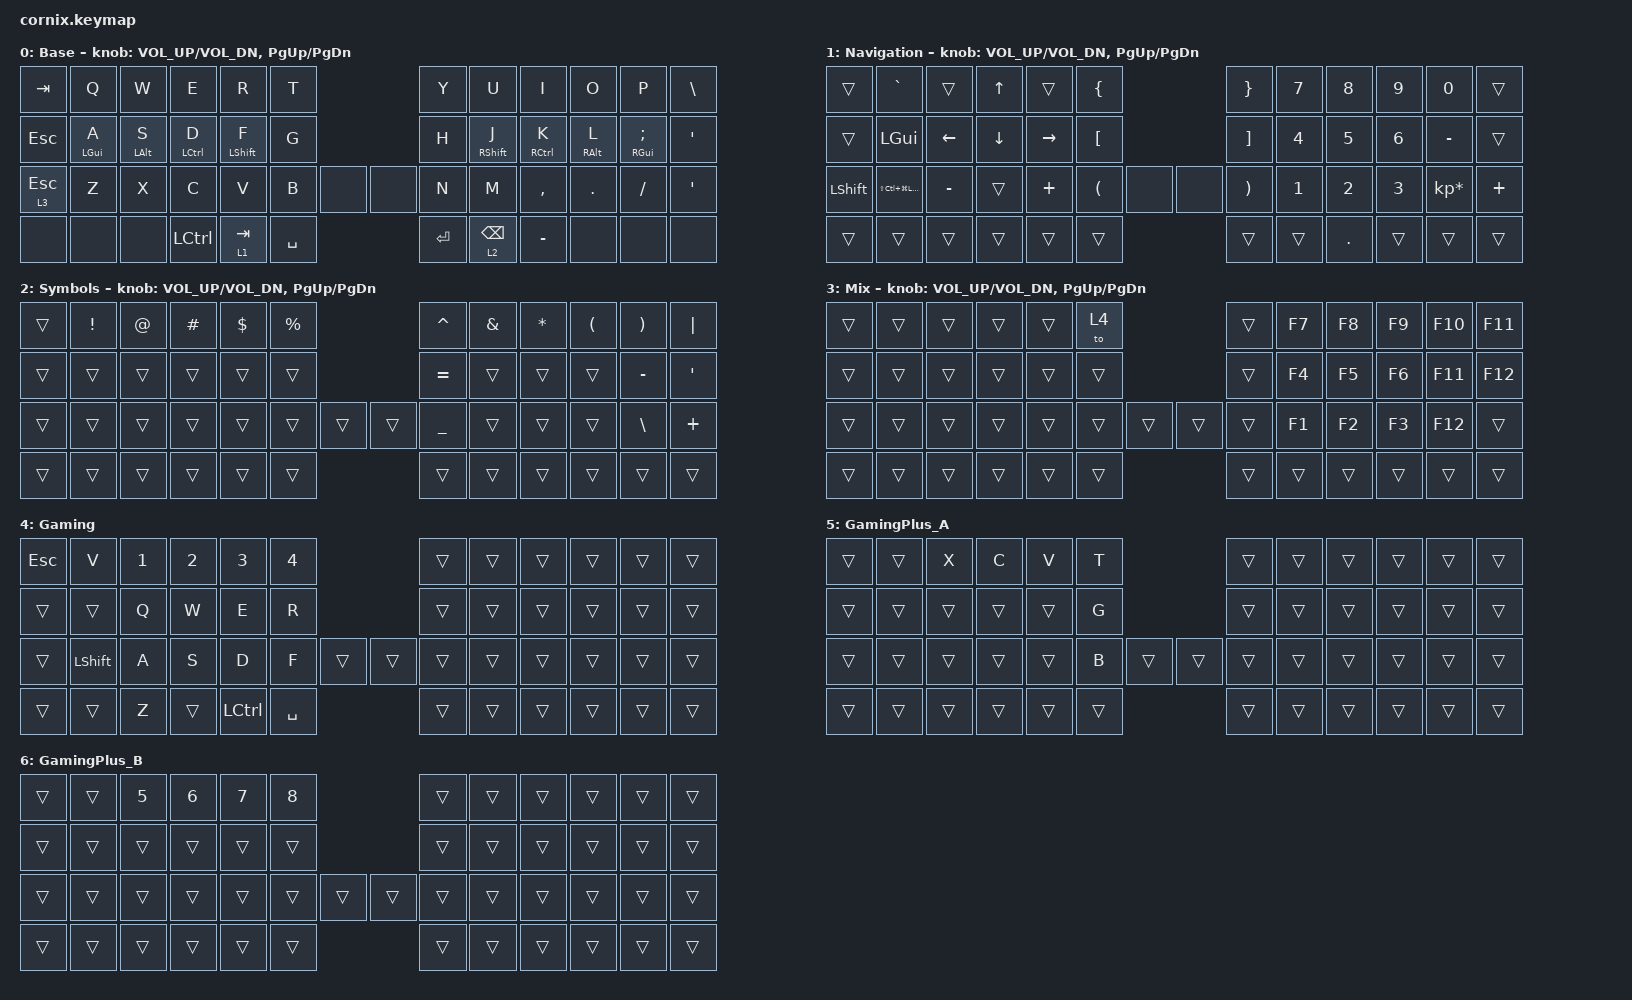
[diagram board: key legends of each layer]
/*
 * Copyright (c) 2020 The ZMK Contributors
 *
 * SPDX-License-Identifier: MIT
 */

#include "zmk-helpers/helper.h"
#include "includes/cornix54.h"

// tap windows for ctl alt and gui

#define HM_TAPPING_TERM 250
#define HM_TAPPING_REPEAT 210

// quick tapping for shift

#define HM_TAPPING_TERM_FAST 200
#define HM_PRIOR_IDLE 70
#define BASE 0
#define WIN 1
#define LOWER 2
#define RAISE 3
#define ADJUST 4
#define NAVI   5
#define NUM    6
#define DEBUG  7

// https://github.com/urob/zmk-config/tree/main#timeless-homerow-mods

#define KEYS_L LT0 LT1 LT2 LT3 LT4 LT5 LM0 LM1 LM2 LM3 LM4 LM5 LB0 LB1 LB2 LB3 LB4 LB5  // left hand
#define KEYS_R RT0 RT1 RT2 RT3 RT4 RT5 RM0 RM1 RM2 RM3 RM4 RM5 RB0 RB1 RB2 RB3 RB4 RB5  // right hand
#define THUMBS LH1 LH0 RH0 RH1
#define KEYS_T LH1 LH0 RH0 RH1
#define ZMK_POINTING_DEFAULT_SCRL_VAL 15

#include <behaviors.dtsi>
#include <dt-bindings/zmk/keys.h>

/ {
    // Activate ADJUST layer by pressing raise and lower

    behaviors {
        hm_l: homerow_mods_left {
            compatible = "zmk,behavior-hold-tap";
            #binding-cells = <2>;
            bindings = <&kp>, <&kp>;

            flavor = "balanced";
            tapping-term-ms = <HM_TAPPING_TERM>;
            quick-tap-ms = <200>;                // repeat on tap-into-hold
            require-prior-idle-ms = <HM_PRIOR_IDLE>;
            hold-trigger-key-positions = <KEYS_R KEYS_T>;
            hold-trigger-on-release;
        };

        hm_r: homerow_mods_right {
            compatible = "zmk,behavior-hold-tap";
            #binding-cells = <2>;
            bindings = <&kp>, <&kp>;

            flavor = "balanced";
            tapping-term-ms = <HM_TAPPING_TERM>;
            quick-tap-ms = <200>;
            require-prior-idle-ms = <HM_PRIOR_IDLE>;
            hold-trigger-key-positions = <KEYS_L KEYS_T>;
            hold-trigger-on-release;
        };

        // Positional Homerow mods for shift
        // Use faster tapping term and disable some features that may
        // cause false negatives.

        hm_shift_l: hm_shift_l {
            compatible = "zmk,behavior-hold-tap";
            #binding-cells = <2>;
            bindings = <&kp>, <&kp>;

            //flavor = "balanced";

            flavor = "balanced";
            tapping-term-ms = <HM_TAPPING_TERM_FAST>;
            quick-tap-ms = <200>;
            require-prior-idle-ms = <HM_PRIOR_IDLE>;
            hold-trigger-key-positions = <KEYS_R KEYS_T>;
            hold-trigger-on-release;
        };

        hm_shift_r: hm_shift_r {
            compatible = "zmk,behavior-hold-tap";
            #binding-cells = <2>;
            bindings = <&kp>, <&kp>;

            flavor = "balanced";
            tapping-term-ms = <HM_TAPPING_TERM_FAST>;
            quick-tap-ms = <200>;
            require-prior-idle-ms = <HM_PRIOR_IDLE>;
            hold-trigger-key-positions = <KEYS_L KEYS_T>;

            // for quick tapping; shift+~

            hold-trigger-on-release;
        };

        /*
         * Non-Positional Homerow Mods
         * Used for &mm_grescm_gui behavior on left hand.
         *
         * Usage: &hm LSHFT T
         * Tap: T
         * Tap-Tap-Hold: Repeat T
         * Hold: LSHIFT
         */

        hm: homerow_mods {
            compatible = "zmk,behavior-hold-tap";
            #binding-cells = <2>;
            bindings = <&kp>, <&kp>;

            flavor = "balanced";
            tapping-term-ms = <HM_TAPPING_TERM>;
            quick-tap-ms = <200>;
        };

        lt: layer_tap {
            compatible = "zmk,behavior-hold-tap";
            #binding-cells = <2>;
            bindings = <&mo>, <&kp>;

            flavor = "hold-preferred";
            tapping-term-ms = <HM_TAPPING_TERM>;
            quick-tap-ms = <200>;
        };
    };

    conditional_layers {
        compatible = "zmk,conditional-layers";

        adjust_layer {
            if-layers = <3 2>;
            then-layer = <4>;
        };
    };

    combos {
        compatible = "zmk,combos";

        cb_ltm {
            bindings = <&kp ESC>;
            key-positions = <2 4>;
            layers = <0 1>;
        };

        cb_lm {
            bindings = <&kp TAB>;
            key-positions = <14 16>;
            layers = <0 1>;
        };

        cb_enter {
            bindings = <&kp RET>;
            key-positions = <21 19>;
            layers = <0 1>;
        };

        layer3 {
            bindings = <&kp N3>;
            key-positions = <5 6>;
        };

        layer4 {
            bindings = <&kp N4>;
            key-positions = <5 6>;
        };
    };

    keymap {
        compatible = "zmk,keymap";

        Base {
            display-name = "Base";

            // ------------------------------------------------------------------------------------------------------------
            // |   `   |  1  |  2  |  3   |  4   |  5   |                   |  6   |  7    |  8    |  9   |   0   |       |
            // |  ESC  |  Q  |  W  |  E   |  R   |  T   |                   |  Y   |  U    |  I    |  O   |   P   | BKSPC |
            // |  TAB  |  A  |  S  |  D   |  F   |  G   |                   |  H   |  J    |  K    |  L   |   ;   |   '   |
            // | SHIFT |  Z  |  X  |  C   |  V   |  B   |  MUTE  |  |       |  N   |  M    |  ,    |  .   |   /   | SHIFT |
            //               | GUI | ALT  | CTRL | LOWER|  ENTER |  | SPACE | RAISE| CTRL  | ALT   | GUI  |

            bindings = <
&kp TAB       &kp Q             &kp W         &kp E          &kp R                &kp T                    &kp Y      &kp U                &kp I          &kp O         &kp P                 &kp BSLH
&kp ESC       &hm_l LEFT_GUI A  &hm_l LALT S  &hm_l LCTRL D  &hm_shift_l LSHFT F  &kp G                    &kp H      &hm_shift_r RSHFT J  &hm_r RCTRL K  &hm_r RALT L  &hm_r RIGHT_GUI SEMI  &kp SQT
&lt 3 ESCAPE  &kp Z             &kp X         &kp C          &kp V                &kp B      &none  &none  &kp N      &kp M                &kp COMMA      &kp DOT       &kp FSLH              &kp SQT
&none         &none             &none         &kp LCTRL      &lt 1 TAB            &kp SPACE                &kp ENTER  &lt 2 BACKSPACE      &kp MINUS      &none         &none                 &none
            >;

            sensor-bindings = <&inc_dec_kp C_VOL_UP C_VOL_DN &inc_dec_kp PG_UP PG_DN>;
        };

        Nav {
            display-name = "Navigation";

            // ------------------------------------------------------------------------------------------------------------
            // |   `   |  1  |  2  |  3   |  4   |  5   |                   |  6   |  7    |  8    |  9   |   0   |       |
            // |  ESC  |  Q  |  W  |  E   |  R   |  T   |                   |  Y   |  U    |  I    |  O   |   P   | BKSPC |
            // |  TAB  |  A  |  S  |  D   |  F   |  G   |                   |  H   |  J    |  K    |  L   |   ;   |   '   |
            // | SHIFT |  Z  |  X  |  C   |  V   |  B   |  MUTE  |  |       |  N   |  M    |  ,    |  .   |   /   | SHIFT |
            //               | GUI | ALT  | CTRL | LOWER|  ENTER |  | SPACE | RAISE| CTRL  | ALT   | GUI  |

            bindings = <
&trans          &kp GRAVE                     &trans          &kp UP_ARROW    &trans           &kp LEFT_BRACE                      &kp RIGHT_BRACE        &kp N7        &kp NUMBER_8  &kp NUMBER_9  &kp NUMBER_0     &trans
&trans          &kp LEFT_GUI                  &kp LEFT_ARROW  &kp DOWN_ARROW  &kp RIGHT_ARROW  &kp LEFT_BRACKET                    &kp RIGHT_BRACKET      &kp NUMBER_4  &kp NUMBER_5  &kp NUMBER_6  &kp MINUS        &trans
&kp LEFT_SHIFT  &kp LS(LC(LG(LEFT_CONTROL)))  &kp MINUS       &trans          &kp PLUS         &kp LEFT_PARENTHESIS  &none  &none  &kp RIGHT_PARENTHESIS  &kp NUMBER_1  &kp NUMBER_2  &kp NUMBER_3  &kp KP_MULTIPLY  &kp PLUS
&trans          &trans                        &trans          &trans          &trans           &trans                              &trans                 &trans        &kp PERIOD    &trans        &trans           &trans
            >;

            sensor-bindings = <&inc_dec_kp C_VOL_UP C_VOL_DN &inc_dec_kp PG_UP PG_DN>;
        };

        Sym {
            display-name = "Symbols";

            // TODO: Some binds are waiting for shifted keycode support.
            // -------------------------------
            // |       |  F1 |  F2 |  F3  |  F4  |  F5  |                   |  F6  |  F7   |  F8   |  F9  |  F10  |  F11  |
            // |   `   |  1  |  2  |  3   |  4   |  5   |                   |  6   |  7    |  8    |  9   |   0   |  F12  |
            // |       |  !  |  @  |  #   |  $   |  %   |                   |  ^   |  &    |  *    |  (   |   )   |   |   |
            // |       |  =  |  -  |  +   |  {   |  }   |        |  |       |  [   |  ]    |  ;    |  :   |   \   |       |
            //               |     |      |      |      |        |  |       |      |       |       |      |

            bindings = <
&trans  &kp EXCL  &kp AT  &kp HASH  &kp DLLR  &kp PRCNT                  &kp CARET       &kp AMPS  &kp ASTRK  &kp LPAR  &kp RPAR       &kp PIPE
&trans  &trans    &trans  &trans    &trans    &trans                     &kp EQUAL       &trans    &trans     &trans    &kp MINUS      &kp SQT
&trans  &trans    &trans  &trans    &trans    &trans     &trans  &trans  &kp UNDERSCORE  &trans    &trans     &trans    &kp BACKSLASH  &kp PLUS
&trans  &trans    &trans  &trans    &trans    &trans                     &trans          &trans    &trans     &trans    &trans         &trans
            >;

            sensor-bindings = <&inc_dec_kp C_VOL_UP C_VOL_DN &inc_dec_kp PG_UP PG_DN>;
        };

        Fun {
            display-name = "Mix";

            // ------------------------------------------------------------------------------------------------------------
            // | BTCLR | BT1  | BT2  |  BT3  |  BT4  |  BT5 |                |      |      |       |      |       |       |
            // |       | INS  | PSCR | GUI   |       |      |                | PGUP |      |   ^   |      |       |       |
            // |       | ALT  | CTRL | SHIFT |       | CAPS |                | PGDN |   <- |   v   |  ->  |  DEL  | BKSPC |
            // |       | UNDO | CUT  | COPY  | PASTE |      |      |  |      |      |      |       |      |       |       |
            //                |      |       |       |      |      |  |      |      |      |       |      |

            bindings = <
&trans  &trans  &trans  &trans  &trans  &to 4                   &trans  &kp F7  &kp F8  &kp F9  &kp F10  &kp F11
&trans  &trans  &trans  &trans  &trans  &trans                  &trans  &kp F4  &kp F5  &kp F6  &kp F11  &kp F12
&trans  &trans  &trans  &trans  &trans  &trans  &trans  &trans  &trans  &kp F1  &kp F2  &kp F3  &kp F12  &trans
&trans  &trans  &trans  &trans  &trans  &trans                  &trans  &trans  &trans  &trans  &trans   &trans
            >;

            sensor-bindings = <&inc_dec_kp C_VOL_UP C_VOL_DN &inc_dec_kp PG_UP PG_DN>;
        };

        Gaming {
            bindings = <
&kp ESC  &kp V      &kp N1  &kp N2  &kp N3     &kp N4                     &trans  &trans  &trans  &trans  &trans  &trans
&trans   &trans     &kp Q   &kp W   &kp E      &kp R                      &trans  &trans  &trans  &trans  &trans  &trans
&trans   &kp LSHFT  &kp A   &kp S   &kp D      &kp F      &trans  &trans  &trans  &trans  &trans  &trans  &trans  &trans
&trans   &trans     &kp Z   &trans  &kp LCTRL  &kp SPACE                  &trans  &trans  &trans  &trans  &trans  &trans
            >;
        };

        GamingPlus_A {
            bindings = <
&trans  &trans  &kp X   &kp C   &kp V   &kp T                   &trans  &trans  &trans  &trans  &trans  &trans
&trans  &trans  &trans  &trans  &trans  &kp G                   &trans  &trans  &trans  &trans  &trans  &trans
&trans  &trans  &trans  &trans  &trans  &kp B   &trans  &trans  &trans  &trans  &trans  &trans  &trans  &trans
&trans  &trans  &trans  &trans  &trans  &trans                  &trans  &trans  &trans  &trans  &trans  &trans
            >;
        };

        GamingPlus_B {
            bindings = <
&trans  &trans  &kp N5  &kp N6  &kp N7  &kp N8                  &trans  &trans  &trans  &trans  &trans  &trans
&trans  &trans  &trans  &trans  &trans  &trans                  &trans  &trans  &trans  &trans  &trans  &trans
&trans  &trans  &trans  &trans  &trans  &trans  &trans  &trans  &trans  &trans  &trans  &trans  &trans  &trans
&trans  &trans  &trans  &trans  &trans  &trans                  &trans  &trans  &trans  &trans  &trans  &trans
            >;
        };
    };
};
